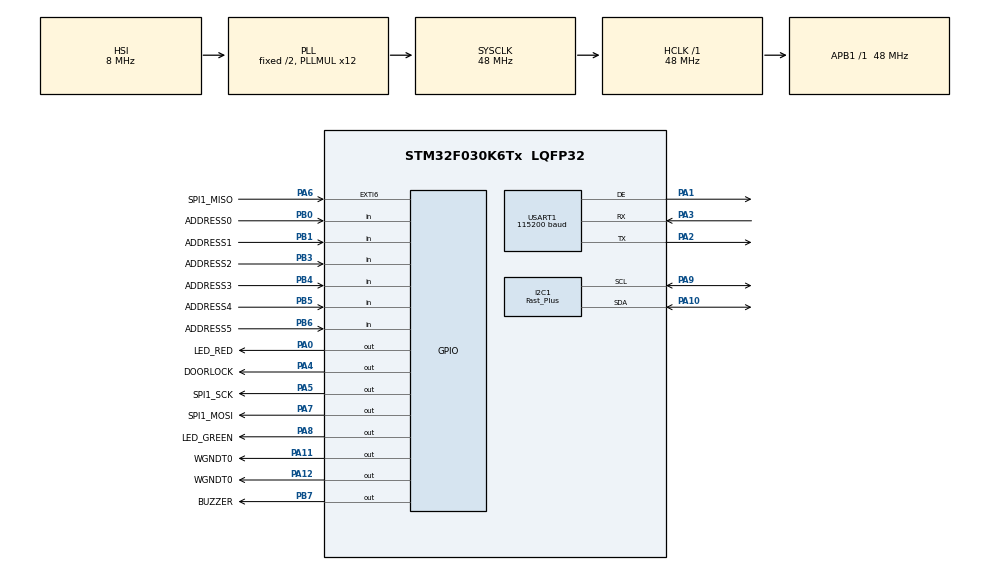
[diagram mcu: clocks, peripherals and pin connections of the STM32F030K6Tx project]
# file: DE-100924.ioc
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I2C1.I2C_Speed_Mode=I2C_Fast_Plus
I2C1.Speed=1000
I2C1.Timing=0x00100001
Mcu.Family=STM32F0
Mcu.Name=STM32F030K6Tx
Mcu.Package=LQFP32
NVIC.EXTI4_15_IRQn=true\:1\:0\:true\:false\:true\:true\:true\:true
NVIC.TIM14_IRQn=true\:0\:0\:false\:false\:true\:true\:true\:true
NVIC.USART1_IRQn=true\:0\:0\:true\:false\:true\:true\:true\:true
PA0.GPIO_Label=LED_RED
PA0.Signal=GPIO_Output
PA1.Mode=Hardware Flow Control (RS485)
PA1.Signal=USART1_DE
PA10.Mode=I2C
PA10.Signal=I2C1_SDA
PA11.GPIO_Label=WGNDT0
PA11.Signal=GPIO_Output
PA12.GPIO_Label=WGNDT0
PA12.Signal=GPIO_Output
PA13.Mode=Serial_Wire
PA13.Signal=SYS_SWDIO
PA14.Mode=Serial_Wire
PA14.Signal=SYS_SWCLK
PA2.Mode=Asynchronous
PA2.Signal=USART1_TX
PA3.Mode=Asynchronous
PA3.Signal=USART1_RX
PA4.GPIO_Label=DOORLOCK
PA4.Signal=GPIO_Output
PA5.GPIO_Label=SPI1_SCK
PA5.GPIO_Speed=GPIO_SPEED_FREQ_HIGH
PA5.Signal=GPIO_Output
PA6.GPIO_Label=SPI1_MISO
PA6.GPIO_ModeDefaultEXTI=GPIO_MODE_IT_FALLING
PA6.Signal=GPXTI6
PA7.GPIO_Label=SPI1_MOSI
PA7.GPIO_Speed=GPIO_SPEED_FREQ_HIGH
PA7.Signal=GPIO_Output
PA8.GPIO_Label=LED_GREEN
PA8.Signal=GPIO_Output
PA9.Mode=I2C
PA9.Signal=I2C1_SCL
PB0.GPIO_Label=ADDRESS0
PB0.GPIO_PuPd=GPIO_PULLUP
PB0.Signal=GPIO_Input
PB1.GPIO_Label=ADDRESS1
PB1.GPIO_PuPd=GPIO_PULLUP
PB1.Signal=GPIO_Input
PB3.GPIO_Label=ADDRESS2
PB3.GPIO_PuPd=GPIO_PULLUP
PB3.Signal=GPIO_Input
PB4.GPIO_Label=ADDRESS3
PB4.GPIO_PuPd=GPIO_PULLUP
PB4.Signal=GPIO_Input
PB5.GPIO_Label=ADDRESS4
PB5.GPIO_PuPd=GPIO_PULLUP
PB5.Signal=GPIO_Input
PB6.GPIO_Label=ADDRESS5
PB6.GPIO_PuPd=GPIO_PULLUP
PB6.Signal=GPIO_Input
PB7.GPIO_Label=BUZZER
PB7.Signal=GPIO_Output
ProjectManager.HeapSize=0x200
ProjectManager.StackSize=0x400
ProjectManager.TargetToolchain=MDK-ARM V5.32
RCC.AHBFreq_Value=48000000
RCC.APB1Freq_Value=48000000
RCC.APB1TimFreq_Value=48000000
RCC.HCLKFreq_Value=48000000
RCC.PLLMUL=RCC_PLL_MUL12
RCC.SYSCLKFreq_VALUE=48000000
RCC.SYSCLKSource=RCC_SYSCLKSOURCE_PLLCLK
TIM14.AutoReloadPreload=TIM_AUTORELOAD_PRELOAD_DISABLE
TIM14.Period=12287
TIM14.Prescaler=0
USART1.BaudRate=115200
USART1.VirtualMode-Asynchronous=VM_ASYNC
USART1.VirtualMode-Hardware\ Flow\ Control\ (RS485)=VM_ASYNC
VP_CRC_VS_CRC.Mode=CRC_Activate
VP_IWDG_VS_IWDG.Mode=IWDG_Activate
VP_RTC_VS_RTC_Activate.Mode=RTC_Enabled
VP_TIM14_VS_ClockSourceINT.Mode=Enable_Timer
board=custom

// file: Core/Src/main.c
/* USER CODE BEGIN Header */
/**
  ******************************************************************************
  * @file           : main.c
  * @brief          : Main program body
  ******************************************************************************
  * @attention
  *
  * Copyright (c) 2024 STMicroelectronics.
  * All rights reserved.
  *
  * This software is licensed under terms that can be found in the LICENSE file
  * in the root directory of this software component.
  * If no LICENSE file comes with this software, it is provided AS-IS.
  *
  ******************************************************************************
  */
/* USER CODE END Header */
#include "main.h"

/* USER CODE BEGIN Includes */
#include "rfid.h"
#include "logger.h"
#include "eeprom.h"
#include <stdlib.h>
/* USER CODE END Includes */

/* USER CODE BEGIN PTD */
typedef enum
{
	BUZZ_OFF = 0,
	BUZZ_CARD_VALID,
	BUZZ_CARD_INVALID,
	BUZZ_ERROR
} buzz_tdf;

typedef enum
{
	LED_OFF = 0,
	LED_CARD_VALID,
	LED_CARD_INVALID,
	LED_CARD_BLOCKED,
	LED_ERROR
} led_tdf;

typedef enum
{
	SYS_OK = 0,
	SYS_TXRX,
	SYS_ERR
} status_tdf;

typedef enum
{
	CLOSED = 0,
	OPEN
} doorlock_tdf;
/* USER CODE END PTD */

/* USER CODE BEGIN PD */
//#define CLEAR_EEPROM
/* USER CODE END PD */

CRC_HandleTypeDef hcrc;

I2C_HandleTypeDef hi2c1;

IWDG_HandleTypeDef hiwdg;

RTC_HandleTypeDef hrtc;

TIM_HandleTypeDef htim14;

UART_HandleTypeDef huart1;

/* USER CODE BEGIN PV */
uint8_t sysfl;
RTC_TimeTypeDef rtime;
RTC_DateTypeDef rdate;
static uint8_t rsadd;
static uint8_t rsbuf[64], rscnt;
static uint32_t door_time;
static uint16_t card_cnt = 0;
static uint8_t buzz_cnt = 0, sta_cnt = 0, door_cnt = 0, led_cnt = 0;
static uint32_t buzz_tmr, sta_tmr, door_tmr, led_tmr, rstmr, rstmr2;
static uint8_t raw_data_buffer[12], rdcnt = 0;
static uint8_t card_id_buffer[6] = {0}, card_id_buffer2[6] = {0}, card_id_buffer3[6] = {0};
static uint8_t bit_cnt;
static uint8_t byte_cnt;
static uint8_t if_flag;
static uint8_t shift;
static doorlock_tdf door = CLOSED;
static status_tdf state = SYS_OK;
static led_tdf led = LED_OFF;
static buzz_tdf buzz = BUZZ_OFF;
const uint16_t max_card_number = 250;
static enum
{
	RECEIVING = 0U, PROCESSING, CHECKING,
} RFID_State = RECEIVING;
/* USER CODE END PV */

void SystemClock_Config(void);
static void MX_GPIO_Init(void);
static void MX_I2C1_Init(void);
static void MX_IWDG_Init(void);
static void MX_USART1_UART_Init(void);
static void MX_CRC_Init(void);
static void MX_RTC_Init(void);
static void MX_TIM14_Init(void);
/* USER CODE BEGIN PFP */
static void init(void);
static void rs485(void);
static void save_flags(void);
static void card_valid(void);
static void card_invalid(void);
static void card_blocked(void);
static void save_door_tmr(void);
static void enable_rfid_receiver(void);
static void enable_rs485_receiver(void);
static void new_event(const uint8_t* bcd_card);
static uint8_t find_card(const uint8_t* bcd_card);
static uint8_t write_card(const uint8_t* bcd_card);
static uint8_t delete_card(const uint8_t* bcd_card);
static uint8_t delete_all_cards(void);
static uint8_t delete_all_events(void);
static uint8_t ParityCheck(void);
/* USER CODE END PFP */

int main(void)
{

	/* USER CODE BEGIN 1 */
	uint8_t c = 0, d = 0;
	uint8_t even_p = 0, odd_p = 0;
	uint32_t rec_tmr = 0, rec_tmout = 0;
	/* USER CODE END 1 */

	/* MCU Configuration--------------------------------------------------------*/

	/* Reset of all peripherals, Initializes the Flash interface and the Systick. */
	HAL_Init();

	/* Configure the system clock */
	SystemClock_Config();

	/* Initialize all configured peripherals */
	MX_GPIO_Init();
	MX_I2C1_Init();
	MX_IWDG_Init();
	MX_USART1_UART_Init();
	MX_CRC_Init();
	MX_RTC_Init();
	MX_TIM14_Init();
	/* USER CODE BEGIN 2 */
	init();
	LOGGER_Init();
	rfid_process();
	rstmr2 = HAL_GetTick(); // load restart timer
	/* USER CODE END 2 */

	/* Infinite loop */
	/* USER CODE BEGIN WHILE */
	while(1)
	{
		rs485();
		rfid_process();
		LOGGER_Service();

		switch(RFID_State)
		{
			case RECEIVING:
				if(HAL_GetTick() - rec_tmr >= 200)
				{
					rec_tmr = HAL_GetTick();
					rfid_read_tag();
				}
				if(rec_tmout && (HAL_GetTick() - rec_tmout >= 300)) // reset receiving buffer after timeout
				{
					rdcnt = 0;
					rec_tmout = 0;
					ZEROFILL(card_id_buffer,  COUNTOF(card_id_buffer));
					ZEROFILL(card_id_buffer2, COUNTOF(card_id_buffer2));
					ZEROFILL(card_id_buffer3, COUNTOF(card_id_buffer3));
				}
				break;

			case PROCESSING:
				if(ParityCheck() == 0)
				{
					for(c = 1; c < 10; c += 2)
					{
						d = (raw_data_buffer[c] & 0x0f) << 4;
						d += (raw_data_buffer[c + 1] & 0x0f);
						card_id_buffer[c / 2] = d;
					}
					even_p = 0;
					for(c = 0; c < 8; c++)
					{
						if(card_id_buffer[2] & (1 << c))
							++even_p;
					}
					for(c = 4; c < 8; c++)
					{
						if(card_id_buffer[3] & (1 << c))
							++even_p;
					}
					if(even_p & 0x01)
						even_p = 1;
					else
						even_p = 0;
					odd_p = 0;
					for(c = 0; c < 4; c++)
					{
						if(card_id_buffer[3] & (1 << c))
							++odd_p;
					}
					for(c = 0; c < 8; c++)
					{
						if(card_id_buffer[4] & (1 << c))
							++odd_p;
					}
					if(odd_p & 0x01)
						odd_p = 0;
					else
						odd_p = 1;
					RFID_State = CHECKING;
				}
				else
				{
					RFID_State = RECEIVING;
				}
				c = 2;
				d = 8;
				break;

			case CHECKING:
				card_id_buffer[5] = '\0';
				uint32_t tmp = card_id_buffer[1] + card_id_buffer[2] + card_id_buffer[3] + card_id_buffer[4];
				if(tmp && (tmp < (4 * 0xFF)))
				{

					if(rdcnt == 2)
					{
						rdcnt = 0;
						if((mem_comp(&card_id_buffer[1], &card_id_buffer2[1], 4U) == 0U) &&
						        (mem_comp(&card_id_buffer2[1], &card_id_buffer3[1], 4U) == 0U))
						{
							ZEROFILL(card_id_buffer2, COUNTOF(card_id_buffer2));
							ZEROFILL(card_id_buffer3, COUNTOF(card_id_buffer3));
							if(HAL_TIM_Base_Stop_IT(&htim14) != HAL_OK)
							{
								Error_Handler();
							}
							HAL_NVIC_DisableIRQ(EXTI4_15_IRQn);
							if(find_card(&card_id_buffer[1]) == 0) card_valid();
							else  card_invalid();
							new_event(&card_id_buffer[1]);
						}
					}
					else if(rdcnt == 1)
					{
						rdcnt = 2;
						mem_copy(&card_id_buffer3[1], &card_id_buffer[1], 4);
					}
					else
					{
						rdcnt = 1;
						mem_copy(&card_id_buffer2[1], &card_id_buffer[1], 4);
					}
				}
				c = 5;
				d = 8;
				shift = 0;
				odd_p = 0xff;
				even_p = 0xff;
				RFID_State = RECEIVING;
				rec_tmout = HAL_GetTick(); // set receiving timeout
				ZEROFILL(card_id_buffer, COUNTOF(card_id_buffer));
				break;
		}
		/* USER CODE END WHILE */

		/* USER CODE BEGIN 3 */
		// restart reader after 10min inactiv communication and not reading any card
		if(rstmr2)
		{
			if((HAL_GetTick() - rstmr2) >= 600000U)
			{
				Error_Handler();
			}
		}
#ifdef	USE_WATCHDOG
		HAL_IWDG_Refresh(&hiwdg);
#endif
	}
	/* USER CODE END 3 */
}

void SystemClock_Config(void)
{
	RCC_OscInitTypeDef RCC_OscInitStruct = {0};
	RCC_ClkInitTypeDef RCC_ClkInitStruct = {0};
	RCC_PeriphCLKInitTypeDef PeriphClkInit = {0};

	/** Initializes the RCC Oscillators according to the specified parameters
	* in the RCC_OscInitTypeDef structure.
	*/
	RCC_OscInitStruct.OscillatorType = RCC_OSCILLATORTYPE_HSI | RCC_OSCILLATORTYPE_LSI;
	RCC_OscInitStruct.HSIState = RCC_HSI_ON;
	RCC_OscInitStruct.HSICalibrationValue = RCC_HSICALIBRATION_DEFAULT;
	RCC_OscInitStruct.LSIState = RCC_LSI_ON;
	RCC_OscInitStruct.PLL.PLLState = RCC_PLL_ON;
	RCC_OscInitStruct.PLL.PLLSource = RCC_PLLSOURCE_HSI;
	RCC_OscInitStruct.PLL.PLLMUL = RCC_PLL_MUL12;
	RCC_OscInitStruct.PLL.PREDIV = RCC_PREDIV_DIV1;
	if(HAL_RCC_OscConfig(&RCC_OscInitStruct) != HAL_OK)
	{
		Error_Handler();
	}

	/** Initializes the CPU, AHB and APB buses clocks
	*/
	RCC_ClkInitStruct.ClockType = RCC_CLOCKTYPE_HCLK | RCC_CLOCKTYPE_SYSCLK
	                              | RCC_CLOCKTYPE_PCLK1;
	RCC_ClkInitStruct.SYSCLKSource = RCC_SYSCLKSOURCE_PLLCLK;
	RCC_ClkInitStruct.AHBCLKDivider = RCC_SYSCLK_DIV1;
	RCC_ClkInitStruct.APB1CLKDivider = RCC_HCLK_DIV1;

	if(HAL_RCC_ClockConfig(&RCC_ClkInitStruct, FLASH_LATENCY_1) != HAL_OK)
	{
		Error_Handler();
	}
	PeriphClkInit.PeriphClockSelection = RCC_PERIPHCLK_USART1 | RCC_PERIPHCLK_I2C1
	                                     | RCC_PERIPHCLK_RTC;
	PeriphClkInit.Usart1ClockSelection = RCC_USART1CLKSOURCE_PCLK1;
	PeriphClkInit.I2c1ClockSelection = RCC_I2C1CLKSOURCE_HSI;
	PeriphClkInit.RTCClockSelection = RCC_RTCCLKSOURCE_LSI;
	if(HAL_RCCEx_PeriphCLKConfig(&PeriphClkInit) != HAL_OK)
	{
		Error_Handler();
	}
}

static void MX_CRC_Init(void)
{

	hcrc.Instance = CRC;
	hcrc.Init.DefaultInitValueUse = DEFAULT_INIT_VALUE_ENABLE;
	hcrc.Init.InputDataInversionMode = CRC_INPUTDATA_INVERSION_NONE;
	hcrc.Init.OutputDataInversionMode = CRC_OUTPUTDATA_INVERSION_DISABLE;
	hcrc.InputDataFormat = CRC_INPUTDATA_FORMAT_BYTES;
	if(HAL_CRC_Init(&hcrc) != HAL_OK)
	{
		Error_Handler();
	}

}

static void MX_I2C1_Init(void)
{

	hi2c1.Instance = I2C1;
	hi2c1.Init.Timing = 0x00100001;
	hi2c1.Init.OwnAddress1 = 0;
	hi2c1.Init.AddressingMode = I2C_ADDRESSINGMODE_7BIT;
	hi2c1.Init.DualAddressMode = I2C_DUALADDRESS_DISABLE;
	hi2c1.Init.OwnAddress2 = 0;
	hi2c1.Init.OwnAddress2Masks = I2C_OA2_NOMASK;
	hi2c1.Init.GeneralCallMode = I2C_GENERALCALL_DISABLE;
	hi2c1.Init.NoStretchMode = I2C_NOSTRETCH_DISABLE;
	if(HAL_I2C_Init(&hi2c1) != HAL_OK)
	{
		Error_Handler();
	}

	/** Configure Analogue filter
	*/
	if(HAL_I2CEx_ConfigAnalogFilter(&hi2c1, I2C_ANALOGFILTER_ENABLE) != HAL_OK)
	{
		Error_Handler();
	}

	/** Configure Digital filter
	*/
	if(HAL_I2CEx_ConfigDigitalFilter(&hi2c1, 0) != HAL_OK)
	{
		Error_Handler();
	}

	/** I2C Fast mode Plus enable
	*/
	__HAL_SYSCFG_FASTMODEPLUS_ENABLE(I2C_FASTMODEPLUS_I2C1);

}

static void MX_IWDG_Init(void)
{

	/* USER CODE BEGIN IWDG_Init 0 */
#ifdef USE_WATCHDOG
	/* USER CODE END IWDG_Init 0 */

	hiwdg.Instance = IWDG;
	hiwdg.Init.Prescaler = IWDG_PRESCALER_32;
	hiwdg.Init.Window = 4095;
	hiwdg.Init.Reload = 4095;
	if(HAL_IWDG_Init(&hiwdg) != HAL_OK)
	{
		Error_Handler();
	}
	/* USER CODE BEGIN IWDG_Init 2 */
#endif
	/* USER CODE END IWDG_Init 2 */

}

static void MX_RTC_Init(void)
{

	/** Initialize RTC Only
	*/
	hrtc.Instance = RTC;
	hrtc.Init.HourFormat = RTC_HOURFORMAT_24;
	hrtc.Init.AsynchPrediv = 127;
	hrtc.Init.SynchPrediv = 255;
	hrtc.Init.OutPut = RTC_OUTPUT_DISABLE;
	hrtc.Init.OutPutPolarity = RTC_OUTPUT_POLARITY_HIGH;
	hrtc.Init.OutPutType = RTC_OUTPUT_TYPE_OPENDRAIN;
	if(HAL_RTC_Init(&hrtc) != HAL_OK)
	{
		Error_Handler();
	}

}

static void MX_TIM14_Init(void)
{

	htim14.Instance = TIM14;
	htim14.Init.Prescaler = 0;
	htim14.Init.CounterMode = TIM_COUNTERMODE_UP;
	htim14.Init.Period = 12287;
	htim14.Init.ClockDivision = TIM_CLOCKDIVISION_DIV1;
	htim14.Init.AutoReloadPreload = TIM_AUTORELOAD_PRELOAD_DISABLE;
	if(HAL_TIM_Base_Init(&htim14) != HAL_OK)
	{
		Error_Handler();
	}
	/* USER CODE BEGIN TIM14_Init 2 */
	if(HAL_TIM_Base_Start_IT(&htim14) != HAL_OK)
	{
		Error_Handler();
	}
	/* USER CODE END TIM14_Init 2 */

}

static void MX_USART1_UART_Init(void)
{

	huart1.Instance = USART1;
	huart1.Init.BaudRate = 115200;
	huart1.Init.WordLength = UART_WORDLENGTH_8B;
	huart1.Init.StopBits = UART_STOPBITS_1;
	huart1.Init.Parity = UART_PARITY_NONE;
	huart1.Init.Mode = UART_MODE_TX_RX;
	huart1.Init.HwFlowCtl = UART_HWCONTROL_NONE;
	huart1.Init.OverSampling = UART_OVERSAMPLING_16;
	huart1.Init.OneBitSampling = UART_ONE_BIT_SAMPLE_DISABLE;
	huart1.AdvancedInit.AdvFeatureInit = UART_ADVFEATURE_NO_INIT;
	if(HAL_RS485Ex_Init(&huart1, UART_DE_POLARITY_HIGH, 0, 0) != HAL_OK)
	{
		Error_Handler();
	}
	/* USER CODE BEGIN USART1_Init 2 */
	rscnt = 0;
	ZEROFILL(rsbuf, COUNTOF(rsbuf));
	HAL_UART_Receive_IT(&huart1, rsbuf, 1);
	/* USER CODE END USART1_Init 2 */

}

static void MX_GPIO_Init(void)
{
	GPIO_InitTypeDef GPIO_InitStruct = {0};

	/* GPIO Ports Clock Enable */
	__HAL_RCC_GPIOA_CLK_ENABLE();
	__HAL_RCC_GPIOB_CLK_ENABLE();

	/*Configure GPIO pin Output Level */
	HAL_GPIO_WritePin(GPIOA, LED_RED_Pin | DOORLOCK_Pin | SPI1_SCK_Pin | SPI1_MOSI_Pin
	                  | LED_GREEN_Pin | WGNDT0_Pin | WGNDT0A12_Pin, GPIO_PIN_RESET);

	/*Configure GPIO pin Output Level */
	HAL_GPIO_WritePin(BUZZER_GPIO_Port, BUZZER_Pin, GPIO_PIN_RESET);

	/*Configure GPIO pins : LED_RED_Pin DOORLOCK_Pin LED_GREEN_Pin WGNDT0_Pin
	                         WGNDT0A12_Pin */
	GPIO_InitStruct.Pin = LED_RED_Pin | DOORLOCK_Pin | LED_GREEN_Pin | WGNDT0_Pin
	                      | WGNDT0A12_Pin;
	GPIO_InitStruct.Mode = GPIO_MODE_OUTPUT_PP;
	GPIO_InitStruct.Pull = GPIO_NOPULL;
	GPIO_InitStruct.Speed = GPIO_SPEED_FREQ_LOW;
	HAL_GPIO_Init(GPIOA, &GPIO_InitStruct);

	/*Configure GPIO pins : SPI1_SCK_Pin SPI1_MOSI_Pin */
	GPIO_InitStruct.Pin = SPI1_SCK_Pin | SPI1_MOSI_Pin;
	GPIO_InitStruct.Mode = GPIO_MODE_OUTPUT_PP;
	GPIO_InitStruct.Pull = GPIO_NOPULL;
	GPIO_InitStruct.Speed = GPIO_SPEED_FREQ_HIGH;
	HAL_GPIO_Init(GPIOA, &GPIO_InitStruct);

	/*Configure GPIO pin : SPI1_MISO_Pin */
	GPIO_InitStruct.Pin = SPI1_MISO_Pin;
	GPIO_InitStruct.Mode = GPIO_MODE_IT_FALLING;
	GPIO_InitStruct.Pull = GPIO_NOPULL;
	HAL_GPIO_Init(SPI1_MISO_GPIO_Port, &GPIO_InitStruct);

	/*Configure GPIO pins : ADDRESS0_Pin ADDRESS1_Pin ADDRESS2_Pin ADDRESS3_Pin
	                         ADDRESS4_Pin ADDRESS5_Pin */
	GPIO_InitStruct.Pin = ADDRESS0_Pin | ADDRESS1_Pin | ADDRESS2_Pin | ADDRESS3_Pin
	                      | ADDRESS4_Pin | ADDRESS5_Pin;
	GPIO_InitStruct.Mode = GPIO_MODE_INPUT;
	GPIO_InitStruct.Pull = GPIO_PULLUP;
	HAL_GPIO_Init(GPIOB, &GPIO_InitStruct);

	/*Configure GPIO pin : BUZZER_Pin */
	GPIO_InitStruct.Pin = BUZZER_Pin;
	GPIO_InitStruct.Mode = GPIO_MODE_OUTPUT_PP;
	GPIO_InitStruct.Pull = GPIO_NOPULL;
	GPIO_InitStruct.Speed = GPIO_SPEED_FREQ_LOW;
	HAL_GPIO_Init(BUZZER_GPIO_Port, &GPIO_InitStruct);

	/* EXTI interrupt init*/
	HAL_NVIC_SetPriority(EXTI4_15_IRQn, 1, 0);
	HAL_NVIC_EnableIRQ(EXTI4_15_IRQn);

}

/* USER CODE BEGIN 4 */
/**
  * @brief  init app
  * @param  none
  * @retval none
  */
static void init(void)
{
	static uint8_t buf[LOG_DSIZE];
	static uint32_t add;

#ifdef CLEAR_EEPROM
	uint8_t clr[EE_PGSIZE + 2];
	uint32_t iad;
	ZEROFILL(clr, COUNTOF(clr));
	for(iad = 0; iad <= (EE_ENDADDR - EE_PGSIZE); iad += EE_PGSIZE)
	{
		clr[0] = iad >> 8;
		clr[1] = iad & 0xFFU;
		if(HAL_I2C_IsDeviceReady(&hi2c1, EE_ADDR, DRV_TRIAL, DRV_TOUT)         != HAL_OK)  Error_Handler();
		if(HAL_I2C_Master_Transmit(&hi2c1, EE_ADDR, clr, EE_PGSIZE + 2, DRV_TOUT) != HAL_OK)  Error_Handler();
		HAL_Delay(10);
	}
	door_time = 5;
	DoorlockEnable();
	BuzzerEnable();
	buf[0] = 0U;
	buf[1] = 0U;
	buf[2] = sysfl;
	buf[3] = door_time;
	if(HAL_I2C_IsDeviceReady(&hi2c1, EE_ADDR, DRV_TRIAL, DRV_TOUT) != HAL_OK)   Error_Handler();
	if(HAL_I2C_Master_Transmit(&hi2c1, EE_ADDR, buf, 4, DRV_TOUT)  != HAL_OK)   Error_Handler();
	HAL_Delay(10);
#endif

	rsadd = 0;
	if(HAL_GPIO_ReadPin(ADDRESS0_GPIO_Port, ADDRESS0_Pin) == GPIO_PIN_RESET) rsadd |= 0x01U;
	if(HAL_GPIO_ReadPin(ADDRESS1_GPIO_Port, ADDRESS1_Pin) == GPIO_PIN_RESET) rsadd |= 0x02U;
	if(HAL_GPIO_ReadPin(ADDRESS2_GPIO_Port, ADDRESS2_Pin) == GPIO_PIN_RESET) rsadd |= 0x04U;
	if(HAL_GPIO_ReadPin(ADDRESS3_GPIO_Port, ADDRESS3_Pin) == GPIO_PIN_RESET) rsadd |= 0x08U;
	if(HAL_GPIO_ReadPin(ADDRESS4_GPIO_Port, ADDRESS4_Pin) == GPIO_PIN_RESET) rsadd |= 0x10U;
	if(HAL_GPIO_ReadPin(ADDRESS5_GPIO_Port, ADDRESS5_Pin) == GPIO_PIN_RESET) rsadd |= 0x20U;

	buf[0] = 0U;
	buf[1] = 0U;
	if(HAL_I2C_IsDeviceReady(&hi2c1, EE_ADDR, DRV_TRIAL, DRV_TOUT) != HAL_OK)  Error_Handler();
	if(HAL_I2C_Master_Transmit(&hi2c1, EE_ADDR, buf, 2U, DRV_TOUT) != HAL_OK)  Error_Handler();
	if(HAL_I2C_Master_Receive(&hi2c1, EE_ADDR, buf, LOG_DSIZE, DRV_TOUT)   != HAL_OK) Error_Handler();
	sysfl = buf[0];
	door_time = (uint32_t) buf[1] * 1000U;
	if(!IsRFIDEnabled()) // omoguci rfid uvijek nakon restarta, ovo je samo interni flag
	{
		RfidEnable();
		save_flags();
	}

	for(add = EE_CARD_LIST_START_ADDR; add <= (EE_CARD_LIST_START_ADDR + (max_card_number * 0x4U)); add += 4U)
	{
		buf[0] = add >> 8U;
		buf[1] = add & 0xFFU;
		if(HAL_I2C_IsDeviceReady(&hi2c1, 0xA0, DRV_TRIAL, DRV_TOUT) != HAL_OK)  Error_Handler();
		if(HAL_I2C_Master_Transmit(&hi2c1, 0xA0, buf, 2U, DRV_TOUT) != HAL_OK)  Error_Handler();
		if(HAL_I2C_Master_Receive(&hi2c1, 0xA0, buf, 4, DRV_TOUT)  != HAL_OK)  Error_Handler();
		if((buf[0] | buf[1] | buf[2] | buf[3]) != 0U)
		{
			++card_cnt;
		}
	}
}
/**
  * @brief  send new card event to pc app
            if pc app not acknowledge receiving event
            event is loged
  * @param  pointer to card received
  * @retval none
  */
static void new_event(const uint8_t* bcd_card)
{
	uint16_t crc = 0, i, t = 0;
	uint8_t buf[16];
	HAL_UART_AbortReceive(&huart1);
	ZEROFILL(buf, COUNTOF(buf));
	buf[0] = SOH;
	buf[1] = 0xFE;
	buf[2] = rsadd;
	buf[3] = 0x6U;
	buf[4] = GET_EVENT_LAST;
	buf[5] = led;
	mem_copy(&buf[6], bcd_card, 4);
	for(i = 0; i < 10; i++)
	{
		crc += buf[i];
	}
	buf[10] = crc >> 8;
	buf[11] = crc & 0xFFU;
	buf[12] = EOT;
	rscnt = 0;
	ZEROFILL(rsbuf, COUNTOF(rsbuf));
	HAL_UART_Transmit(&huart1, buf, 13U, RESP_TOUT);
	__HAL_UART_CLEAR_PEFLAG(&huart1);
	__HAL_UART_CLEAR_FEFLAG(&huart1);
	__HAL_UART_CLEAR_NEFLAG(&huart1);
	__HAL_UART_CLEAR_IDLEFLAG(&huart1);
	__HAL_UART_CLEAR_OREFLAG(&huart1);
	HAL_UART_AbortReceive(&huart1);
	HAL_UART_Receive(&huart1, rsbuf, 8, 100);
	if((rsbuf[0] == SOH)   && (rsbuf[1] ==  rsadd) && \
	        (rsbuf[2] == 0xFEU) && (rsbuf[3] ==  0x1U) && \
	        (rsbuf[4] == ACK)   && (rsbuf[7] ==  EOT))
	{
		crc = 0;
		for(i = 0; i < (rsbuf[3] + 4); i++)
		{
			crc += rsbuf[i];
		}
		if(((rsbuf[5]) == (crc >> 8U)) && ((rsbuf[6]) == (crc & 0xFFU))) t = 1;
	}
	if(t == 0)
	{
		logger.log_event = led;
		mem_copy(&logger.log_card_id[0], bcd_card, 4);
		LOGGER_Write();
	}
	enable_rs485_receiver();
}
/**
  * @brief process received rs485 data and response
  * @param

    BAJT 0 = SOH (standardni ASCII "start of header" kontrolni char, 1 decimalno, 0x01 hexadecimalno)
    BAJT 1 = ADRESA RECEIVERA (adresa CITACA ili u odgovoru 0xFE adresa PC aplikacije) ili 0xFF brodkast adresa
    BAJT 2 = ADRESA TRANSMITERA (0xFE adresa PC aplikacije ili u odgovoru adresa CITACA)
    BAJT 3 = DUŽINA PAKETA (broj bajta korisnog dijela ovog paketa koji saljemo prijemniku pocevsi od i ukljucujuci slijedeceg)
    BAJT 4 = KOMANDA
                        GET_SYS_FLAG        0xA0 // traži flagove sistema
                        GET_CARD_CNT        0xA1 // broj kartica u eepromu
                        GET_CARD_PRESENT    0xA2 // traži kartice u eepromu
                        GET_EVENT_CNT       0xA3 // broj dogadaja u eepromu
                        GET_EVENT_LAST      0xA4 // traži zadnji dogadaj iz eeproma

                        SET_SYS_TIME        0xB0 // podesi vrijeme u BCD formatu: dan/datum/mjesec/godina/sat/minuta/sekunda
                        SET_SYS_RESTART     0xB1 // softwerski restart applikacije
                        SET_CARD_ONE        0xB2 // dodaj novu karticu u eeprom
                        SET_DOOR_OPEN       0xB3 // aktiviraj bravu
                        SET_DOOR_TIME       0xB4 // podesi vrijeme brave
                        SET_DOOR_ENABLE     0xB5 // omoguci kontrolu brave
                        SET_DOOR_DISABLE    0xB6 // onemoguci kontrolu brave
                        SET_BUZZER_ENABLE   0xB7 // omoguci buzzer
                        SET_BUZZER_DISABLE  0xB8 // onemoguci buzzer

                        DELETE_CARD_ONE     0xC0 // obrisi karticu iz eeproma
                        DELETE_CARD_ALL     0xC1 // obrisi sve kartice iz eeproma
                        DELETE_EVENT_LAST   0xC2 // obrisi dogadaj prema datom indexu iz eeproma
                        DELETE_EVENT_ALL    0xC3 // obrisi sve dogadaje iz eeproma

    BAJT 5,6... = BROJ KARTICE ILI VRIJEME (ako se šalje broj kartice ili vrijeme)

    BAJT ZADNJI - 2 = MSB CEKSUMA KOMANDE (16 bitni zbir svih bajta paketa, do prije ovog bajta)
    BAJT ZADNJI - 1 = LSB CEKSUMA KOMANDE
    BAJT ZADNJI		= EOT (standardni ASCII "end of transmission" kontrolni char, 4 decimalno, 0x04 hexadecimalno)

  * @retval
  */
static void rs485(void)
{
	static uint8_t i, resp[32];
	uint16_t crc = 0;
	if((rsbuf[0] == SOH) && (rsbuf[1] ==  rsadd) && (rsbuf[rsbuf[3] + 6U] == EOT))
	{
		HAL_UART_AbortReceive(&huart1);

		for(i = 0; i < (rsbuf[3] + 4); i++)
		{
			crc += rsbuf[i];
		}

		if(((rsbuf[rsbuf[3] + 4U]) == (crc >> 8U)) && ((rsbuf[rsbuf[3] + 5U]) == (crc & 0xFFU)))
		{
			resp[0] = SOH;
			resp[1] = 0xFEU;
			resp[2] = rsadd;
			resp[3] = 2U;
			resp[4] = rsbuf[4];
			resp[5] = ACK;

			switch(rsbuf[4])
			{
				case GET_SYS_FLAG:
					resp[5] = sysfl;
					break;

				case GET_CARD_CNT:
					resp[3] = 3U;
					resp[5] = card_cnt >> 8;
					resp[6] = card_cnt & 0xFFU;
					break;

				case GET_CARD_PRESENT:
					if(find_card(&rsbuf[5]) != 0) resp[5] = NAK;
					break;

				case GET_EVENT_CNT:
					resp[3] = 3U;
					resp[5] = logger_list_count >> 8;
					resp[6] = logger_list_count & 0xFFU;
					break;

				case GET_EVENT_LAST:
					resp[3] = 17U;
					if(LOGGER_Read(&resp[5]) == LOGGER_EMPTY)
					{
						resp[3] = 2U;
						resp[5] = LOGGER_EMPTY;
					}
					break;

				case SET_SYS_TIME:
					Str2Hex((const char*)&rsbuf[5], &rdate.Date, 2);
					Str2Hex((const char*)&rsbuf[7], &rdate.Month, 2);
					Str2Hex((const char*)&rsbuf[9], &rdate.Year, 2);
					Str2Hex((const char*)&rsbuf[11], &rtime.Hours, 2);
					Str2Hex((const char*)&rsbuf[13], &rtime.Minutes, 2);
					Str2Hex((const char*)&rsbuf[15], &rtime.Seconds, 2);
					HAL_RTC_SetTime(&hrtc, &rtime, RTC_FORMAT_BCD);
					HAL_RTC_SetDate(&hrtc, &rdate, RTC_FORMAT_BCD);
					break;

				case SET_SYS_RESTART:
					Error_Handler();
					break;

				case SET_CARD_ONE:
					if(find_card(&rsbuf[5]) != 0)
					{
						if(write_card(&rsbuf[5]) != 0) resp[5] = NAK;
					}
					break;

				case SET_DOOR_OPEN:
//					door = OPEN;
//					DoorlockEnable();
					card_valid();
					break;

				case SET_DOOR_TIME:
					door_time = (uint32_t) rsbuf[5] * 1000U;
					save_door_tmr();
					break;

				case SET_DOOR_ENABLE:
					DoorlockEnable();
					save_flags();
					break;

				case SET_DOOR_DISABLE:
					DoorlockDisable();
					save_flags();
					break;

				case SET_BUZZER_ENABLE:
					BuzzerEnable();
					save_flags();
					break;

				case SET_BUZZER_DISABLE:
					BuzzerDisable();
					save_flags();
					break;

				case DELETE_CARD_ONE:
					if(delete_card(&rsbuf[5]) != 0) resp[5] = NAK;
					break;

				case DELETE_CARD_ALL:
					delete_all_cards();
					break;

				case DELETE_EVENT_ALL:
					delete_all_events();
					break;

				case DELETE_EVENT_LAST:
					resp[5] = LOGGER_Delete();
					break;

				default:
					resp[3] = 0;
					break;
			}

			if(resp[3])
			{
				crc = 0;
				for(i = 0; i < (resp[3] + 4); i++)
				{
					crc += resp[i];
				}
				resp[resp[3] + 4U] = (crc >> 8U);
				resp[resp[3] + 5U] = (crc & 0xFFU);
				resp[resp[3] + 6U] = EOT;
				HAL_UART_Transmit(&huart1, resp, resp[3] + 7U, RESP_TOUT);
			}
		}
		enable_rs485_receiver();
	}
	// resetuj receiver 100 ms nakon zadnje primljenog bajta
	if(rstmr)
	{
		if((HAL_GetTick() - rstmr) >= 100U)
		{
			enable_rs485_receiver();
		}
	}
}
/**
  * @brief  buzzer, led, doorlock
  * @param
  * @retval
  */
void status(void)
{
	//********************* BUZZER SIGNAL *********************//
	if(IsBuzzerEnabled())
	{
		switch(buzz)
		{
			case BUZZ_CARD_VALID:
				switch(buzz_cnt)
				{
					case 0:
						BuzzerOn();
						buzz_tmr = HAL_GetTick();
						++buzz_cnt;
						break;
					case 1:
					default:
						if((HAL_GetTick() - buzz_tmr) >= 50U) buzz = BUZZ_OFF;
						break;
				}
				break;
			case BUZZ_CARD_INVALID:
				if((HAL_GetTick() - buzz_tmr) >= 50U)
				{
					if(IsBuzzerOn()) BuzzerOff();
					else BuzzerOn();
					buzz_tmr = HAL_GetTick();
					if(++buzz_cnt >= 8U) buzz = BUZZ_OFF;
				}
				break;
			case BUZZ_ERROR:
				if(((buzz_cnt & 0x1U) == 0U) && ((HAL_GetTick() - buzz_tmr) >= 5000U))
				{
					BuzzerOn();
					buzz_tmr = HAL_GetTick();
					++buzz_cnt;
				}
				else if((HAL_GetTick() - buzz_tmr) >= 100U)
				{
					BuzzerOff();
					buzz_tmr = HAL_GetTick();
					++buzz_cnt;
				}
				break;
			default:
			case BUZZ_OFF:
				buzz_cnt = 0;
				buzz_tmr = 0;
				BuzzerOff();
				break;
		}
	}
	else
	{
		buzz_cnt = 0;
		buzz_tmr = 0;
		BuzzerOff();
	}
	//********************* STATUS LED SIGNAL *********************//
	switch(state)
	{
		case SYS_OK:
			if(((sta_cnt & 0x1U) == 0U) && ((HAL_GetTick() - sta_tmr) >= 1000U))
			{
//				StatusLedOn();
				sta_tmr = HAL_GetTick();
				++sta_cnt;
			}
			else if((sta_cnt & 0x1U)  && ((HAL_GetTick() - sta_tmr) >= 100U))
			{
//				StatusLedOff();
				sta_tmr = HAL_GetTick();
				sta_cnt = 0;
			}
			break;

		case SYS_TXRX:
			if((HAL_GetTick() - sta_tmr) >= 100U)
			{
//				if(IsStatusLedOn()) StatusLedOff();
//				else StatusLedOn();
				sta_tmr = HAL_GetTick();
				if(++sta_cnt >= 10U) state = SYS_OK;
			}
			break;

		default:
		case SYS_ERR:
			if((HAL_GetTick() - sta_tmr) >= 100U)
			{
//				if(IsStatusLedOn()) StatusLedOff();
//				else StatusLedOn();
				sta_tmr = HAL_GetTick();
			}
			break;
	}
	//********************* USER LED SIGNAL *********************//
	switch(led)
	{

		case LED_CARD_VALID:
		case LED_CARD_BLOCKED:
			switch(led_cnt)
			{
				case 0:
					if(led == LED_CARD_VALID) GreenLedOn(), RedLedOff();
					else if(led == LED_CARD_BLOCKED) GreenLedOn(), RedLedOn();
					led_tmr = HAL_GetTick();
					++led_cnt;
					break;
				case 1:
				default:
					if((HAL_GetTick() - led_tmr) >= 2000U)
					{
						led_cnt = 0;
						led = LED_OFF;
						enable_rfid_receiver();
					}
					break;
			}
			break;
		case LED_CARD_INVALID:
			if((HAL_GetTick() - led_tmr) >= 50U)
			{
				if(IsRedLedOn()) RedLedOff();
				else RedLedOn();
				led_tmr = HAL_GetTick();
				if(++led_cnt >= 8U)
				{
					led_cnt = 0;
					led = LED_OFF;
					enable_rfid_receiver();
				}
			}
			break;
		case LED_ERROR:
			if(((led_cnt & 0x1U) == 0U) && ((HAL_GetTick() - led_tmr) >= 200U))
			{
				RedLedOn();
				GreenLedOn();
				led_tmr = HAL_GetTick();
				++led_cnt;
			}
			else if((led_cnt & 0x1U) && ((HAL_GetTick() - led_tmr) >= 100U))
			{
				RedLedOff();
				GreenLedOff();
				led_tmr = HAL_GetTick();
				led_cnt = 0;
			}
			break;
		default:
		case LED_OFF:
			RedLedOn();
			GreenLedOff();
			break;

	}
	//********************* DOORLOCK OUTPUT *********************//
	if(IsDoorlockEnabled())
	{
		switch(door)
		{
			case OPEN:
				switch(door_cnt)
				{
					case 0:
						DoorlockOn();
						door_tmr = HAL_GetTick();
						++door_cnt;
						break;
					case 1:
					default:
						if((HAL_GetTick() - door_tmr) >= door_time) door = CLOSED;
						break;
				}
				break;

			default:
			case CLOSED:
				DoorlockOff();
				door_cnt = 0;
				door_tmr = 0;
				break;
		}
	}
	else
	{
		DoorlockOff();
		door_cnt = 0;
		door_tmr = 0;
	}

}
/**
  * @brief  reset and start receivin data from rf485
  * @param  none
  * @retval none
  */
static void enable_rs485_receiver(void)
{
	__HAL_UART_CLEAR_PEFLAG(&huart1);
	__HAL_UART_CLEAR_FEFLAG(&huart1);
	__HAL_UART_CLEAR_NEFLAG(&huart1);
	__HAL_UART_CLEAR_IDLEFLAG(&huart1);
	__HAL_UART_CLEAR_OREFLAG(&huart1);
	HAL_UART_AbortReceive(&huart1);
	rscnt = 0;
	rstmr = 0;
	ZEROFILL(rsbuf, COUNTOF(rsbuf));
	HAL_UART_Receive_IT(&huart1, rsbuf, 1);
}
/**
  * @brief  start receivin data from rfid reader
  * @param  none
  * @retval none
  */
static void enable_rfid_receiver(void)
{
	HAL_TIM_Base_Start_IT(&htim14);
	HAL_NVIC_EnableIRQ(EXTI4_15_IRQn);
}
/**
  * @brief  set signalin for card valid event
  * @param  none
  * @retval none
  */
static void card_valid(void)
{
	if(IsDoorlockEnabled())
	{
		led_cnt = 0;
		door_cnt = 0;
		buzz_cnt = 0;
		buzz_tmr = 0;
		door_tmr = 0;
		led_tmr = 0;
		BuzzerOff();
		RedLedOff();
		GreenLedOff();
		door = OPEN;
		led = LED_CARD_VALID;
		buzz = BUZZ_CARD_VALID;
	}
	else card_blocked();
	rstmr2 = HAL_GetTick(); // relod restart timer
}
/**
  * @brief  set signalin for card invalid event
  * @param  none
  * @retval none
  */
static void card_invalid(void)
{
	led_cnt = 0;
	door_cnt = 0;
	buzz_cnt = 0;
	buzz_tmr = 0;
	door_tmr = 0;
	led_tmr = 0;
	BuzzerOff();
	RedLedOff();
	GreenLedOff();
	door = CLOSED;
	led = LED_CARD_INVALID;
	buzz = BUZZ_CARD_INVALID;
	rstmr2 = HAL_GetTick(); //  reload restart timer
}
/**
  * @brief  set signalin for reader doorlock blocked event
  * @param  none
  * @retval none
  */
static void card_blocked(void)
{
	led_cnt = 0;
	door_cnt = 0;
	buzz_cnt = 0;
	buzz_tmr = 0;
	door_tmr = 0;
	led_tmr = 0;
	BuzzerOff();
	RedLedOff();
	GreenLedOff();
	door = CLOSED;
	led = LED_CARD_BLOCKED;
	buzz = BUZZ_CARD_INVALID;
	rstmr2 = HAL_GetTick(); // reload restart timer
}
/**
  * @brief  find in eeprom card id
  * @param  pointer to card id in 5 byte bcd format (10 digit)
  * @retval 0 = OK or 1 = NOT FOUND
  */
static uint8_t find_card(const uint8_t* bcd_card)
{
	uint8_t buf[4];
	uint32_t add = EE_CARD_LIST_START_ADDR;

	for(add = EE_CARD_LIST_START_ADDR; add <= (EE_CARD_LIST_START_ADDR + (max_card_number * 0x4U)); add += 0x4U)
	{
		buf[0] = add >> 8U;
		buf[1] = add & 0xFFU;
		if(HAL_I2C_IsDeviceReady(&hi2c1, EE_ADDR, DRV_TRIAL, DRV_TOUT) != HAL_OK)  Error_Handler();
		if(HAL_I2C_Master_Transmit(&hi2c1, EE_ADDR, buf, 2U, DRV_TOUT) != HAL_OK)  Error_Handler();
		if(HAL_I2C_Master_Receive(&hi2c1, EE_ADDR, buf, 4U, DRV_TOUT)  != HAL_OK)  Error_Handler();
		if(mem_comp(bcd_card, buf, 4U) == 0U) return 0U;
	}
	return (1U);
}
/**
  * @brief  write card on first available eeprom address
  * @param  pointer to card id in 5 byte bcd format
  * @retval 0 = OK or 1 = WRITE ERROR
  */
static uint8_t write_card(const uint8_t* bcd_card)
{
	uint8_t buf[6];
	uint32_t add = EE_CARD_LIST_START_ADDR;

	for(add = EE_CARD_LIST_START_ADDR; add <= (EE_CARD_LIST_START_ADDR + (max_card_number * 0x4U)); add += 4U)
	{
		buf[0] = add >> 8U;
		buf[1] = add & 0xFFU;
		if(HAL_I2C_IsDeviceReady(&hi2c1, EE_ADDR, DRV_TRIAL, DRV_TOUT) != HAL_OK)  Error_Handler();
		if(HAL_I2C_Master_Transmit(&hi2c1, EE_ADDR, buf, 2U, DRV_TOUT) != HAL_OK)  Error_Handler();
		if(HAL_I2C_Master_Receive(&hi2c1, EE_ADDR, buf, 4U, DRV_TOUT)  != HAL_OK)  Error_Handler();
		if((buf[0] | buf[1] | buf[2] | buf[3]) == 0U)
		{
			buf[0] = add >> 8U;
			buf[1] = add & 0xFFU;
			mem_copy(&buf[2], bcd_card, 4);
			if(HAL_I2C_IsDeviceReady(&hi2c1, EE_ADDR, DRV_TRIAL, DRV_TOUT) != HAL_OK)     Error_Handler();
			if(HAL_I2C_Master_Transmit(&hi2c1, EE_ADDR, buf, 0x6U, DRV_TOUT) != HAL_OK)   Error_Handler();
			HAL_Delay(10);
			++card_cnt;
			return 0U;
		}
	}
	return (1U);
}
/**
  * @brief  delete card from eeprom
  * @param  pointer to card id in 5 byte bcd format
  * @retval 0 = OK or 1 = NOT FOUND
  */
static uint8_t delete_card(const uint8_t* bcd_card)
{
	uint8_t buf[6];
	uint32_t add = EE_CARD_LIST_START_ADDR;
	for(add = EE_CARD_LIST_START_ADDR; add <= (EE_CARD_LIST_START_ADDR + (max_card_number * 0x4U)); add += 4U)
	{
		buf[0] = add >> 8U;
		buf[1] = add & 0xFFU;
		if(HAL_I2C_IsDeviceReady(&hi2c1, EE_ADDR, DRV_TRIAL, DRV_TOUT) != HAL_OK)   Error_Handler();
		if(HAL_I2C_Master_Transmit(&hi2c1, EE_ADDR, buf, 2U, DRV_TOUT) != HAL_OK)   Error_Handler();
		if(HAL_I2C_Master_Receive(&hi2c1, EE_ADDR, buf, 4U, DRV_TOUT) != HAL_OK)   Error_Handler();
		if(mem_comp(bcd_card, buf, 4U) == 0U)
		{
			ZEROFILL(buf, COUNTOF(buf));
			buf[0] = add >> 8U;
			buf[1] = add & 0xFFU;
			if(HAL_I2C_IsDeviceReady(&hi2c1, EE_ADDR, DRV_TRIAL, DRV_TOUT) != HAL_OK)      Error_Handler();
			if(HAL_I2C_Master_Transmit(&hi2c1, EE_ADDR, buf, 0x6U, DRV_TOUT) != HAL_OK)   Error_Handler();
			HAL_Delay(10);
			--card_cnt;
			return 0U;
		}
	}
	return (1U);
}
/**
  * @brief  delete card from eeprom
  * @param  pointer to card id in 5 byte bcd format
  * @retval 0 = OK or system restart
  */
static uint8_t delete_all_cards(void)
{
	uint8_t buf[EE_PGSIZE + 2];
	uint32_t add;
	ZEROFILL(buf, COUNTOF(buf));
	for(add = EE_CARD_LIST_START_ADDR; add <= (EE_CARD_LIST_END_ADDR - EE_PGSIZE); add += EE_PGSIZE)
	{
		buf[0] = add >> 8U;
		buf[1] = add & 0xFFU;
		if(HAL_I2C_IsDeviceReady(&hi2c1, EE_ADDR, DRV_TRIAL, DRV_TOUT) != HAL_OK)         Error_Handler();
		if(HAL_I2C_Master_Transmit(&hi2c1, EE_ADDR, buf, EE_PGSIZE + 2, DRV_TOUT) != HAL_OK)Error_Handler();
		HAL_Delay(10);
	}
	card_cnt = 0;
	return 0U;
}
/**
  * @brief  delete all events from eeprom
  * @param  none
  * @retval 0 = OK or system restart
  */
static uint8_t delete_all_events(void)
{
	uint8_t buf[EE_PGSIZE + 2];
	uint32_t add;
	ZEROFILL(buf, COUNTOF(buf));
	for(add = EE_LOG_LIST_START_ADDR; add <= (EE_LOG_LIST_END_ADDR - EE_PGSIZE); add += EE_PGSIZE)
	{
		buf[0] = add >> 8U;
		buf[1] = add & 0xFFU;
		if(HAL_I2C_IsDeviceReady(&hi2c1, EE_ADDR, DRV_TRIAL, DRV_TOUT)         != HAL_OK)  Error_Handler();
		if(HAL_I2C_Master_Transmit(&hi2c1, EE_ADDR, buf, EE_PGSIZE + 2, DRV_TOUT) != HAL_OK)  Error_Handler();
		HAL_Delay(10);
	}
	LOGGER_Init();
	return 0U;
}
/**
  * @brief  save door time
  * @param
  * @retval
  */
static void save_door_tmr(void)
{
	uint8_t tmp = door_time / 1000U;
	uint8_t buf[3];
	buf[0] = 0;
	buf[1] = 0x1;
	buf[2] = tmp;
	if(HAL_I2C_IsDeviceReady(&hi2c1, EE_ADDR, DRV_TRIAL, DRV_TOUT) != HAL_OK)  Error_Handler();
	if(HAL_I2C_Master_Transmit(&hi2c1, EE_ADDR, buf, 3, DRV_TOUT)  != HAL_OK)  Error_Handler();
	HAL_Delay(10);
}
/**
  * @brief  save sys flags
  * @param
  * @retval
  */
static void save_flags(void)
{
	uint8_t buf[3];
	buf[0] = 0;
	buf[1] = 0;
	buf[2] = sysfl;
	if(HAL_I2C_IsDeviceReady(&hi2c1, EE_ADDR, DRV_TRIAL, DRV_TOUT) != HAL_OK)  Error_Handler();
	if(HAL_I2C_Master_Transmit(&hi2c1, EE_ADDR, buf, 3, DRV_TOUT)  != HAL_OK)  Error_Handler();
	HAL_Delay(10);
}
/**
  * @brief
  * @param
  * @retval
  */
void HAL_UART_RxCpltCallback(UART_HandleTypeDef *huart)
{
	rstmr = HAL_GetTick();
	rstmr2 = HAL_GetTick();
	if(++rscnt > sizeof(rsbuf)) rscnt = 0;
	HAL_UART_Receive_IT(&huart1, &rsbuf[rscnt], 1);
}
/**
  * @brief
  * @param
  * @retval
  */
void HAL_UART_TxCpltCallback(UART_HandleTypeDef *huart)
{
}
/**
  * @brief
  * @param
  * @retval
  */
void HAL_UART_ErrorCallback(UART_HandleTypeDef *huart)
{
	enable_rs485_receiver();
}
/**
  * @brief
  * @param
  * @retval
  */
void HAL_GPIO_EXTI_Callback(uint16_t GPIO_Pin)
{
	if(GPIO_Pin == SPI1_MISO_Pin)
	{
		__HAL_TIM_SET_COUNTER(&htim14, 0);
		__HAL_TIM_SET_AUTORELOAD(&htim14, 18430); // interrupt after 3/4 bit time (384us);
		if_flag = 1;  // rising edge interrupt executed
	}
}
/**
  * @brief
  * @param
  * @retval
  */
void HAL_TIM_PeriodElapsedCallback(TIM_HandleTypeDef *htim)
{
	if(RFID_State != RECEIVING)
	{
		__HAL_TIM_SET_COUNTER(&htim14, 0);
		__HAL_TIM_SET_AUTORELOAD(&htim14, 12287); // interrupt after 1/2 bit time (256us);
	}
	else
	{
		if(HAL_GPIO_ReadPin(SPI1_MISO_GPIO_Port, SPI1_MISO_Pin) == GPIO_PIN_RESET)
		{
			__HAL_TIM_SET_AUTORELOAD(&htim14, 24574); // interrupt after 1 bit time (512us);
			if_flag = shift ^ 1;
		}
		else
		{
			__HAL_TIM_SET_AUTORELOAD(&htim14, 12287); // interrupt after 1/2 bit time (256us);
			if(if_flag)
				if_flag = shift;
		}

		shift = (shift << 1);
		shift += (if_flag & 1);

		if((if_flag > 127) && (shift == 0xff))
		{
			bit_cnt = 0xff;
			byte_cnt = 1;
			shift = 1;
		}

		if(byte_cnt)
		{
			if(++bit_cnt == 5)
			{
				bit_cnt = 0;
				raw_data_buffer[byte_cnt] = shift & 0x1f;
				if(++byte_cnt > 11)
				{
					byte_cnt = 0;
//					HAL_TIM_PWM_Stop(&htim2, TIM_CHANNEL_2);
					RFID_State = PROCESSING;
				}
			}
		}
		if_flag = 0;
	}
}

static uint8_t ParityCheck(void)
{
	uint8_t c, x, hor, ver;
	ver = 0;
	hor = 0;
	c = 0;
	x = 0;

	for(c = 1; c < 11; ++c)
	{
		ver ^= raw_data_buffer[c];
		hor = 0;
		for(x = 0x10; x > 1; x = (x >> 1))
		{
			if(raw_data_buffer[c] & x)
			{
				++hor;
			}
		}

		if((hor & 1) != (raw_data_buffer[c] & 1))
			return 1; // horisontal parity error
		raw_data_buffer[c] = (raw_data_buffer[c] >> 1);
	}

	if(raw_data_buffer[c] & 1)
		return 3;    // horisontal parity of vertical paritys not 0
	raw_data_buffer[c] = (raw_data_buffer[c] >> 1);
	ver = (ver >> 1);

	if(ver != raw_data_buffer[c])
		return 2; // vertical parity error

	return 0;   // parity ok
}
/* USER CODE END 4 */

void Error_Handler(void)
{
	/* USER CODE BEGIN Error_Handler_Debug */
	/* User can add his own implementation to report the HAL error return state */
	__disable_irq();
	/* USER CODE BEGIN Init */
	HAL_CRC_MspDeInit(&hcrc);
	HAL_RTC_MspDeInit(&hrtc);
	HAL_I2C_MspDeInit(&hi2c1);
	HAL_UART_MspDeInit(&huart1);
	HAL_TIM_Base_MspDeInit(&htim14);
	HAL_DeInit();
	/* USER CODE END Init */
	while(1)
	{
		HAL_NVIC_SystemReset();
	}
	/* USER CODE END Error_Handler_Debug */
}
